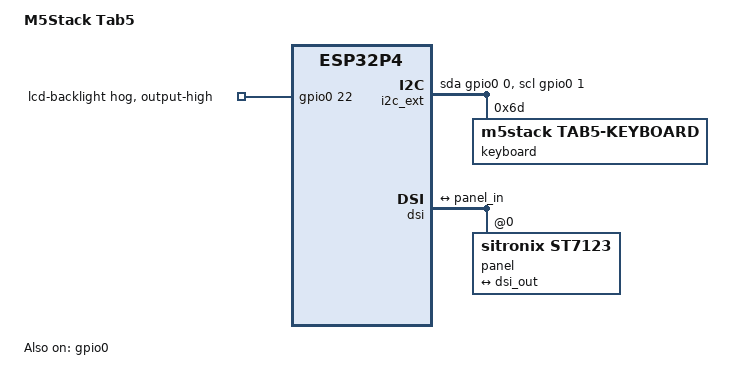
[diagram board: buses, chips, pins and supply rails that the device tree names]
// SPDX-License-Identifier: GPL-2.0-only
/*
 * M5Stack Tab5 overrides, appended to easystick-stamp-p4.dts by build-m1.sh
 * when EASYSTICK_BOARD=tab5.  The SoC side (P4 NRW32, 32 MiB PSRAM, 16 MiB
 * flash, USB-Serial/JTAG console on GPIO24/25) is the same as the Stamp-P4;
 * the boot shim powers the C6 and routes Slot 1 to the Tab5's SDIO pins
 * (CLK 12, CMD 13, DAT0..3 11/10/9/8), so the sdmmc1 node stays as is.
 */

/ {
	model = "M5Stack Tab5";
	compatible = "m5stack,tab5", "espressif,esp32p4";
};

/*
 * GPIO26/27 carry I2S to the audio codec on the Tab5, not a USB connector,
 * and the boot shim leaves the FS OTG PHY off.  Without a UDC the userland
 * skips the USB mass-storage drive.
 */
&usb_otg11 {
	status = "disabled";
};

/*
 * ST7123 720x1280 panel on the P4 MIPI-DSI host, two lanes (WHY2025's DSI
 * glue, kernel patches 0003/0073/0074; panel driver 0075).  The glue enables
 * the DSI clocks and LDO3 (VDD_MIPI_DPHY 2.5 V) itself.  The boot shim
 * releases LCD_RST (P4 of the 0x43 expander) and turns the backlight
 * (GPIO22) on, since Linux has no driver for either.
 */
/ {
	/* The DW-MIPI-DSI core needs a "pclk"; the APB clock is already on. */
	dsi_pclk: dsi-pclk {
		compatible = "fixed-clock";
		#clock-cells = <0>;
		clock-frequency = <100000000>;
		clock-output-names = "dsi-pclk";
	};

	reserved-memory {
		/*
		 * Scan-out buffer (720x1280 RGB565, 1.8 MB, an order-9
		 * allocation) and the GDMA descriptor page, kept out of the
		 * buddy allocator, which rarely has 2 MB free in one piece
		 * next to the NOMMU user pools.  Ends where the low user pool
		 * (0x495af000) starts.
		 */
		display_pool: display-pool@4939f000 {
			compatible = "shared-dma-pool";
			reg = <0x4939f000 0x00210000>;
			no-map;
		};
	};

	chosen {
		/*
		 * Landscape console with the keyboard below the screen: fbcon
		 * rotates the 720x1280 panel, Terminus 16x32 gives 80x22.
		 * console=ttyGS1 stays last, so /dev/console is still USB-C.
		 */
		bootargs = "earlycon=esp32p4usbjtag,mmio32,0x500d2000 console=tty0 console=ttyGS1,115200n8 loglevel=4 root=/dev/mtdblock0 rootfstype=squashfs ro init=/sbin/init maxcpus=1 fbcon=rotate:1 fbcon=font:TER16x32";
	};
};

&soc {
	dsi: dsi@500a0000 {
		compatible = "espressif,esp32p4-mipi-dsi";
		reg = <0x500a0000 0x0800>,	/* DW-MIPI-DSI host */
		      <0x500a0800 0x0100>;	/* Espressif bridge */
		reg-names = "host", "bridge";
		clocks = <&dsi_pclk>;
		clock-names = "pclk";
		/* The Tab5 panel is scanned in its native orientation. */
		espressif,blit-direct;
		/*
		 * The ROM cache ops make devices non-coherent by default, and
		 * NOMMU has no uncached remap, so dma_alloc_coherent() fails
		 * ("coherent DMA allocations not supported").  The glue
		 * flushes its scan-out buffer and GDMA descriptor itself.
		 */
		dma-coherent;
		memory-region = <&display_pool>;
		#address-cells = <1>;
		#size-cells = <0>;
		status = "okay";

		ports {
			#address-cells = <1>;
			#size-cells = <0>;

			port@0 {
				reg = <0>;
			};

			port@1 {
				reg = <1>;
				dsi_out: endpoint {
					remote-endpoint = <&panel_in>;
				};
			};
		};

		panel@0 {
			compatible = "sitronix,st7123";
			reg = <0>;

			port {
				panel_in: endpoint {
					remote-endpoint = <&dsi_out>;
				};
			};
		};
	};
};

#include <dt-bindings/gpio/gpio.h>

/*
 * Tab5 Keyboard (A164) on Ext.Port1: SDA GPIO0, SCL GPIO1, I2C 0x6d
 * (kernel patch 0076).  Bank 0 of the P4 GPIO controller (WHY2025's 0002
 * driver; it shares the MMIO page with gpio1) carries both lines; the bus is
 * bit-banged like WHY2025's keypad bus.  The keyboard's INT (GPIO50) is not
 * used: the driver polls.
 */
&soc {
	gpio0: gpio@500e0000 {
		compatible = "espressif,esp32p4-gpio";
		reg = <0x500e0000 0x1000>;
		espressif,bank-id = <0>;
		gpio-controller;
		#gpio-cells = <2>;
		status = "okay";

		/*
		 * The backlight enable (GPIO22) must be a line this driver owns:
		 * on every direction change (the bit-banged I2C toggles SDA each
		 * poll) it writes ENABLE_W1TC with every line it does not drive
		 * as an output, which turned off the output the boot shim set.
		 */
		lcd-backlight-hog {
			gpio-hog;
			gpios = <22 GPIO_ACTIVE_HIGH>;
			output-high;
			line-name = "lcd-backlight";
		};
	};
};

/ {
	i2c_ext: i2c-ext {
		compatible = "i2c-gpio";
		sda-gpios = <&gpio0 0 (GPIO_ACTIVE_HIGH | GPIO_OPEN_DRAIN | GPIO_PULL_UP)>;
		scl-gpios = <&gpio0 1 (GPIO_ACTIVE_HIGH | GPIO_OPEN_DRAIN | GPIO_PULL_UP)>;
		i2c-gpio,delay-us = <5>;	/* about 100 kHz */
		#address-cells = <1>;
		#size-cells = <0>;

		keyboard@6d {
			compatible = "m5stack,tab5-keyboard";
			reg = <0x6d>;
		};
	};
};
